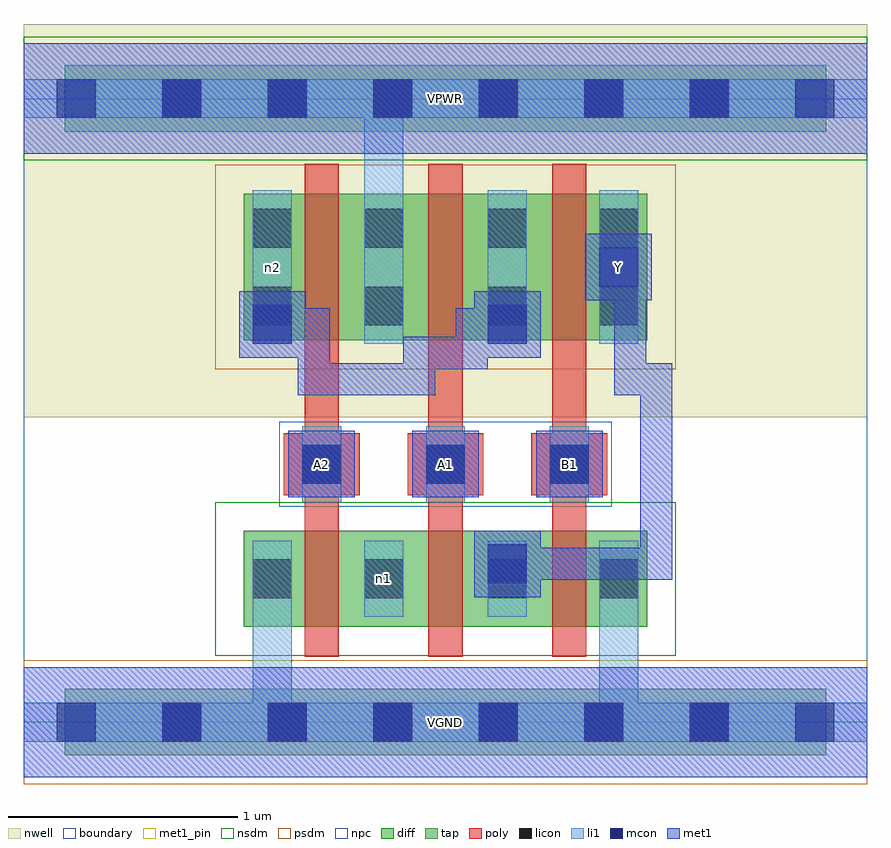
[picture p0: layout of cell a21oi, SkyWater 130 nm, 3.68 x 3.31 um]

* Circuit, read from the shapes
.subckt a21oi A1 A2 B1 VGND VPWR Y n1 n2
XM1 n1 A2 VGND VGND sky130_fd_pr__nfet_01v8 w=0.42 l=0.15
XM2 Y A1 n1 VGND sky130_fd_pr__nfet_01v8 w=0.42 l=0.15
XM3 VGND B1 Y VGND sky130_fd_pr__nfet_01v8 w=0.42 l=0.15
XM4 VPWR A2 n2 VPWR sky130_fd_pr__pfet_01v8 w=0.64 l=0.15
XM5 n2 A1 VPWR VPWR sky130_fd_pr__pfet_01v8 w=0.64 l=0.15
XM6 Y B1 n2 VPWR sky130_fd_pr__pfet_01v8 w=0.64 l=0.15
.ends

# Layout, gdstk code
import gdstk
lib = gdstk.Library(unit=1e-6, precision=1e-09)
def R(c, l, rs):  # rectangles x0, y0, x1, y1
    for r in rs: c.add(gdstk.rectangle(r[:2], r[2:], *l))
def A(c, l, x, y, w, h, nx, ny, dx, dy):  # array of equal rectangles
    R(c, l, [(x+i*dx, y+j*dy, x+i*dx+w, y+j*dy+h) for i in range(nx) for j in range(ny)])
nwell = (64, 20)
diff = (65, 20)
tap = (65, 44)
poly = (66, 20)
licon = (66, 44)
li1 = (67, 20)
mcon = (67, 44)
met1_pin = (68, 16)
met1 = (68, 20)
nsdm = (93, 44)
psdm = (94, 20)
npc = (95, 20)
boundary = (235, 4)

a21oi = lib.new_cell('a21oi')
R(a21oi, nwell, [(0,1.33,3.68,3.045)])
R(a21oi, diff, [(0.96,0.415,2.72,0.835), (0.96,1.665,2.72,2.305)])
R(a21oi, tap, [(0.18,-0.145,3.5,0.145), (0.18,2.575,3.5,2.865)])
A(a21oi, poly, 1.225, 0.285, 0.15, 2.15, 3, 1, 0.54, 0)
A(a21oi, poly, 1.135, 0.99, 0.33, 0.27, 3, 1, 0.54, 0)
A(a21oi, licon, 0.605, -0.085, 0.17, 0.17, 6, 2, 0.46, 2.72)
A(a21oi, licon, 1.215, 1.04, 0.17, 0.17, 3, 1, 0.54, 0)
R(a21oi, licon, [(1,0.54,1.17,0.71), (1.485,0.54,1.655,0.71), (2.025,0.54,2.195,0.71), (2.51,0.54,2.68,0.71), (1,1.73,1.17,1.9), (1.485,1.73,1.655,1.9), (2.025,1.73,2.195,1.9), (2.51,1.73,2.68,1.9), (1,2.07,1.17,2.24), (1.485,2.07,1.655,2.24), (2.025,2.07,2.195,2.24), (2.51,2.07,2.68,2.24)])
A(a21oi, li1, 1.215, 0.96, 0.17, 0.33, 3, 1, 0.54, 0)
R(a21oi, li1, [(0,-0.085,3.68,0.085), (1,-0.085,1.17,0.79), (2.51,-0.085,2.68,0.79), (1,0.46,1.17,0.79), (1.485,0.46,1.655,0.79), (2.025,0.46,2.195,0.79), (2.51,0.46,2.68,0.79), (1,1.65,1.17,2.32), (1.485,1.65,1.655,2.32), (1.485,1.65,1.655,2.805), (2.025,1.65,2.195,2.32), (2.51,1.65,2.68,2.32), (0,2.635,3.68,2.805)])
A(a21oi, mcon, 0.145, -0.085, 0.17, 0.17, 8, 2, 0.46, 2.72)
A(a21oi, mcon, 1.215, 1.04, 0.17, 0.17, 3, 1, 0.54, 0)
R(a21oi, mcon, [(2.025,0.605,2.195,0.775), (1,1.65,1.17,1.82), (2.025,1.65,2.195,1.82), (2.51,1.9,2.68,2.07)])
A(a21oi, met1_pin, 1.155, 0.98, 0.29, 0.29, 3, 1, 0.54, 0)
R(a21oi, met1_pin, [(0,-0.24,3.68,0.24), (2.45,1.84,2.74,2.13), (0,2.48,3.68,2.96)])
A(a21oi, met1, 1.155, 0.98, 0.29, 0.29, 3, 1, 0.54, 0)
R(a21oi, met1, [(0,-0.24,3.68,0.24), (1.965,0.545,2.255,0.835), (2.04,0.62,2.37,0.76), (2.23,0.62,2.83,0.76), (2.69,0.62,2.83,1.565), (1.195,1.425,1.335,1.68), (1.195,1.425,1.795,1.565), (1.655,1.425,1.795,1.68), (2.575,1.425,2.715,2.025), (2.575,1.425,2.83,1.565), (1.195,1.54,1.335,1.805), (1.655,1.54,2.025,1.68), (1.885,1.54,2.025,1.805), (0.94,1.59,1.23,1.88), (1.965,1.59,2.255,1.88), (1.015,1.665,1.335,1.805), (1.885,1.665,2.18,1.805), (2.45,1.84,2.74,2.13), (2.575,1.885,2.715,2.025), (0,2.48,3.68,2.96)])
R(a21oi, nsdm, [(0.835,0.29,2.845,0.96), (0,2.45,3.68,2.99)])
R(a21oi, psdm, [(0,-0.27,3.68,0.27), (0.835,1.54,2.845,2.43)])
R(a21oi, npc, [(1.115,0.94,2.565,1.31)])
R(a21oi, boundary, [(0,0,3.68,2.72)])
a21oi.add(gdstk.Label('n1', (1.57,0.625), layer=67, texttype=5))
a21oi.add(gdstk.Label('n2', (1.085,1.985), layer=67, texttype=5))
a21oi.add(gdstk.Label('A1', (1.84,1.125), layer=68, texttype=5))
a21oi.add(gdstk.Label('A2', (1.3,1.125), layer=68, texttype=5))
a21oi.add(gdstk.Label('B1', (2.38,1.125), layer=68, texttype=5))
a21oi.add(gdstk.Label('Y', (2.595,1.985), layer=68, texttype=5))
a21oi.add(gdstk.Label('VPWR', (1.84,2.72), layer=68, texttype=5))
a21oi.add(gdstk.Label('VGND', (1.84,0), layer=68, texttype=5))
a21oi.add(gdstk.Label('A1', (1.84,1.125), layer=68, texttype=16))
a21oi.add(gdstk.Label('A2', (1.3,1.125), layer=68, texttype=16))
a21oi.add(gdstk.Label('B1', (2.38,1.125), layer=68, texttype=16))
a21oi.add(gdstk.Label('Y', (2.595,1.985), layer=68, texttype=16))
a21oi.add(gdstk.Label('VPWR', (1.84,2.72), layer=68, texttype=16))
a21oi.add(gdstk.Label('VGND', (1.84,0), layer=68, texttype=16))

lib.write_gds('a21oi.gds')
